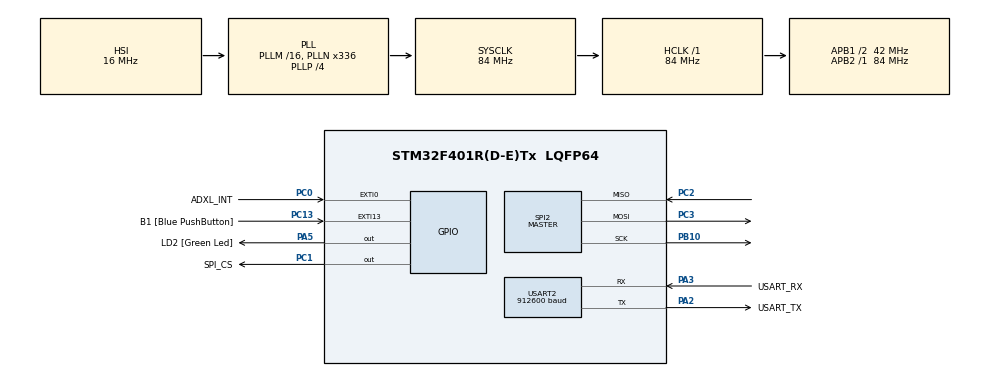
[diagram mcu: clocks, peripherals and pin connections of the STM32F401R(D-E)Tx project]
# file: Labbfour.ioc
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Mcu.Family=STM32F4
Mcu.Name=STM32F401R(D-E)Tx
Mcu.Package=LQFP64
NVIC.EXTI0_IRQn=true\:0\:0\:false\:false\:true\:true
NVIC.PriorityGroup=NVIC_PRIORITYGROUP_0
NVIC.SPI2_IRQn=true\:0\:0\:false\:false\:true\:true
NVIC.TIM1_UP_TIM10_IRQn=true\:0\:0\:false\:false\:true\:true
NVIC.USART2_IRQn=true\:0\:0\:false\:false\:true\:true
PA13.GPIO_Label=TMS
PA13.Mode=Serial_Wire
PA13.Signal=SYS_JTMS-SWDIO
PA14.GPIO_Label=TCK
PA14.Mode=Serial_Wire
PA14.Signal=SYS_JTCK-SWCLK
PA2.GPIO_Label=USART_TX
PA2.GPIO_Mode=GPIO_MODE_AF_PP
PA2.GPIO_PuPd=GPIO_NOPULL
PA2.GPIO_Speed=GPIO_SPEED_FREQ_LOW
PA2.Mode=Asynchronous
PA2.Signal=USART2_TX
PA3.GPIO_Label=USART_RX
PA3.GPIO_Mode=GPIO_MODE_AF_PP
PA3.GPIO_PuPd=GPIO_NOPULL
PA3.GPIO_Speed=GPIO_SPEED_FREQ_LOW
PA3.Mode=Asynchronous
PA3.Signal=USART2_RX
PA5.GPIO_Label=LD2 [Green Led]
PA5.GPIO_Mode=GPIO_MODE_OUTPUT_PP
PA5.GPIO_PuPd=GPIO_NOPULL
PA5.GPIO_Speed=GPIO_SPEED_FREQ_LOW
PA5.Signal=GPIO_Output
PB10.Mode=Full_Duplex_Master
PB10.Signal=SPI2_SCK
PB3.GPIO_Label=SWO
PB3.Signal=SYS_JTDO-SWO
PC0.GPIO_Label=ADXL_INT
PC0.Signal=GPXTI0
PC1.GPIO_Label=SPI_CS
PC1.Signal=GPIO_Output
PC13-ANTI_TAMP.GPIO_Label=B1 [Blue PushButton]
PC13-ANTI_TAMP.GPIO_ModeDefaultEXTI=GPIO_MODE_IT_FALLING
PC13-ANTI_TAMP.GPIO_PuPd=GPIO_NOPULL
PC13-ANTI_TAMP.Signal=GPXTI13
PC14-OSC32_IN.Mode=LSE-External-Oscillator
PC14-OSC32_IN.Signal=RCC_OSC32_IN
PC15-OSC32_OUT.Mode=LSE-External-Oscillator
PC15-OSC32_OUT.Signal=RCC_OSC32_OUT
PC2.Mode=Full_Duplex_Master
PC2.Signal=SPI2_MISO
PC3.Mode=Full_Duplex_Master
PC3.Signal=SPI2_MOSI
PH0\ -\ OSC_IN.Mode=HSE-External-Clock-Source
PH0\ -\ OSC_IN.Signal=RCC_OSC_IN
PH1\ -\ OSC_OUT.Mode=HSE-External-Clock-Source
PH1\ -\ OSC_OUT.Signal=RCC_OSC_OUT
ProjectManager.HeapSize=0x200
ProjectManager.StackSize=0x400
ProjectManager.TargetToolchain=TrueSTUDIO
RCC.48MHZClocksFreq_Value=48000000
RCC.AHBFreq_Value=84000000
RCC.APB1CLKDivider=RCC_HCLK_DIV2
RCC.APB1Freq_Value=42000000
RCC.APB1TimFreq_Value=84000000
RCC.APB2Freq_Value=84000000
RCC.APB2TimFreq_Value=84000000
RCC.CortexFreq_Value=84000000
RCC.HCLKFreq_Value=84000000
RCC.HSE_VALUE=8000000
RCC.HSI_VALUE=16000000
RCC.PLLN=336
RCC.PLLP=RCC_PLLP_DIV4
RCC.PLLQ=7
RCC.SYSCLKFreq_VALUE=84000000
RCC.SYSCLKSource=RCC_SYSCLKSOURCE_PLLCLK
RCC.VCOOutputFreq_Value=336000000
SPI2.CLKPhase=SPI_PHASE_2EDGE
SPI2.CLKPolarity=SPI_POLARITY_HIGH
SPI2.Direction=SPI_DIRECTION_2LINES
SPI2.Mode=SPI_MODE_MASTER
SPI2.VirtualType=VM_MASTER
TIM10.Period=62499
TIM10.Prescaler=1344
USART2.BaudRate=912600
USART2.VirtualMode=VM_ASYNC
VP_TIM10_VS_ClockSourceINT.Mode=Enable_Timer
board=NUCLEO-F401RE

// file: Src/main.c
/**
  ******************************************************************************
  * @file           : main.c
  * @brief          : Main program body
  ******************************************************************************
  ** This notice applies to any and all portions of this file
  * that are not between comment pairs USER CODE BEGIN and
  * USER CODE END. Other portions of this file, whether
  * inserted by the user or by software development tools
  * are owned by their respective copyright owners.
  *
  * COPYRIGHT(c) 2018 STMicroelectronics
  *
  * Redistribution and use in source and binary forms, with or without modification,
  * are permitted provided that the following conditions are met:
  *   1. Redistributions of source code must retain the above copyright notice,
  *      this list of conditions and the following disclaimer.
  *   2. Redistributions in binary form must reproduce the above copyright notice,
  *      this list of conditions and the following disclaimer in the documentation
  *      and/or other materials provided with the distribution.
  *   3. Neither the name of STMicroelectronics nor the names of its contributors
  *      may be used to endorse or promote products derived from this software
  *      without specific prior written permission.
  *
  * THIS SOFTWARE IS PROVIDED BY THE COPYRIGHT HOLDERS AND CONTRIBUTORS "AS IS"
  * AND ANY EXPRESS OR IMPLIED WARRANTIES, INCLUDING, BUT NOT LIMITED TO, THE
  * IMPLIED WARRANTIES OF MERCHANTABILITY AND FITNESS FOR A PARTICULAR PURPOSE ARE
  * DISCLAIMED. IN NO EVENT SHALL THE COPYRIGHT HOLDER OR CONTRIBUTORS BE LIABLE
  * FOR ANY DIRECT, INDIRECT, INCIDENTAL, SPECIAL, EXEMPLARY, OR CONSEQUENTIAL
  * DAMAGES (INCLUDING, BUT NOT LIMITED TO, PROCUREMENT OF SUBSTITUTE GOODS OR
  * SERVICES; LOSS OF USE, DATA, OR PROFITS; OR BUSINESS INTERRUPTION) HOWEVER
  * CAUSED AND ON ANY THEORY OF LIABILITY, WHETHER IN CONTRACT, STRICT LIABILITY,
  * OR TORT (INCLUDING NEGLIGENCE OR OTHERWISE) ARISING IN ANY WAY OUT OF THE USE
  * OF THIS SOFTWARE, EVEN IF ADVISED OF THE POSSIBILITY OF SUCH DAMAGE.
  *
  * ======================
  * PERIPHERALS:
  * SPI2
  * TIM10 - Prescalar = 1344, Counter period = 62499, Interrupt on
  *
  * PIN LAYOUT:
  *
  * PC0 - ADXL_Interrupt_2 (Set as EXT interrupt)
  * PC1 - SPI_CS
  * PC2 - SPI2_MISO
  * PC3 - SPI2_MOSI
  * PA2 - USART_TX
  * PA3 - USART_RX
  * PA5 - LD2 (Green LED)
  * PB10 - SPI2_SCK
  *
  ******************************************************************************
  */
#include "main.h"
#include "stm32f4xx_hal.h"

/* USER CODE BEGIN Includes */
#include "ADXL.h"
#include "StateMachine.h"
/* USER CODE END Includes */

SPI_HandleTypeDef hspi2;

TIM_HandleTypeDef htim10;

UART_HandleTypeDef huart2;

/* USER CODE BEGIN PV */
/* Private variables ---------------------------------------------------------*/
uint8_t ADXLdata[6];
int16_t x, y, z;
statesE state;
statesE event;
uint8_t FIFOTrigger = 0;
int restFlag = 0;
int sTick = 0;
int SPIready = 1;
int UARTready = 1;
/* USER CODE END PV */

void SystemClock_Config(void);
static void MX_GPIO_Init(void);
static void MX_USART2_UART_Init(void);
static void MX_SPI2_Init(void);
static void MX_TIM10_Init(void);

/* USER CODE BEGIN PFP */
/* Private function prototypes -----------------------------------------------*/
void HAL_GPIO_EXTI_Callback(uint16_t GPIO_Pin);
void HAL_TIM_PeriodElapsedCallback(TIM_HandleTypeDef *htim);
void HAL_SPI_TxCpltCallback(SPI_HandleTypeDef*hspi);
void HAL_UART_TxCpltCallback(UART_HandleTypeDef*huart);

/* USER CODE END PFP */

/* USER CODE BEGIN 0 */
void UART_Send_Int(UART_HandleTypeDef *huart, int16_t intIn)
{

	char intOut[5];
	HAL_UART_Transmit(huart, (uint8_t*)intOut, sprintf(intOut, "%d,", intIn), 100);

}

void UART_Send_break(UART_HandleTypeDef *huart)
{
	unsigned char UARTbreak[4] = "\r\n";
	HAL_UART_Transmit(huart, UARTbreak, 2, 100);
}

/* USER CODE END 0 */

int main(void)
{

  /* MCU Configuration----------------------------------------------------------*/

  /* Reset of all peripherals, Initializes the Flash interface and the Systick. */
  HAL_Init();

  /* Configure the system clock */
  SystemClock_Config();

  /* Initialize all configured peripherals */
  MX_GPIO_Init();
  MX_USART2_UART_Init();
  MX_SPI2_Init();
  MX_TIM10_Init();
  /* USER CODE BEGIN 2 */
  HAL_GPIO_WritePin(GPIOA, GPIO_PIN_5, 0);

  HAL_Delay(1000);
  uint8_t test = ADXL_Init(&hspi2);
  if(test == 0xE5)
	  HAL_UART_Transmit(&huart2, "OK", 2, 500);
  else
	  HAL_UART_Transmit(&huart2, "ERR", 3, 500);

  ADXL_resetInt(&hspi2);
  HAL_Delay(200);
  state = IDLE;
  event = STANDBY;
  buffInit();
  /* USER CODE END 2 */

  /* Infinite loop */
  /* USER CODE BEGIN WHILE */
  while (1)
  {

	  switch(state)
	  {
	  case IDLE:
		  ADXL_resetInt(&hspi2);
		  break;

	  case ACTIVITY:									// V FIFO entry bit corresponding to 32 samples in FIFO
		  FIFOTrigger = ADXL_ReadRegister(&hspi2, 0x39) & 0b00010000;
		  if(FIFOTrigger && SPIready)
		  {
			  SPIready = 0;
			  ADXL_ReadRegisters_IT(&hspi2, 0x32, ADXLdata, 6);
			  x = ADXLdata[0] | (ADXLdata[1] << 8);
			  y = ADXLdata[2] | (ADXLdata[3] << 8);
			  z = ADXLdata[4] | (ADXLdata[5] << 8);

			  UART_Send_Int(&huart2, x);
			  UART_Send_Int(&huart2, y);
			  UART_Send_Int(&huart2, z);
			  UART_Send_break(&huart2);
		  }

		  break;

	  case REST:

		  break;

	  default:
		  state = IDLE;
		  HAL_GPIO_WritePin(GPIOA, GPIO_PIN_5, 1);
		  break;

	  }

	  switch(event)
	  {
	  case STANDBY:
		  event = readBuff();
		  break;

	  case ACTIVATE:
		  ADXL_wakeUp(&hspi2);
		  state = ACTIVITY;
		  event = STANDBY;
		  HAL_TIM_Base_Start_IT(&htim10);
		  HAL_GPIO_WritePin(GPIOA, GPIO_PIN_5, 1);
		  break;

	  case TIMER:
		  sTick++;
		  if(sTick > 2 && !restFlag)
		  {
			  event = RESETT;
		  }
		  else if(sTick >= 5 && restFlag)
		  {
			  HAL_TIM_Base_Stop_IT(&htim10);
			  sTick = 0;
			  restFlag = 0;
			  state = IDLE;
			  ADXL_resetInt(&hspi2);
		  }
		  else
			  event = STANDBY;

		  break;

	  case RESETT:
		  ADXL_Sleep(&hspi2);
		  event = STANDBY;
		  state = REST;
		  TIM10->CNT = 0;
		  restFlag = 1;
		  HAL_GPIO_WritePin(GPIOA, GPIO_PIN_5, 0);
		  break;

	  default:
		  //HAL_GPIO_WritePin(GPIOA, GPIO_PIN_5, 1);
		  event = STANDBY;
		  break;
	  }
  /* USER CODE END WHILE */

  }

}

void SystemClock_Config(void)
{

  RCC_OscInitTypeDef RCC_OscInitStruct;
  RCC_ClkInitTypeDef RCC_ClkInitStruct;

    /**Configure the main internal regulator output voltage
    */
  __HAL_RCC_PWR_CLK_ENABLE();

  __HAL_PWR_VOLTAGESCALING_CONFIG(PWR_REGULATOR_VOLTAGE_SCALE2);

    /**Initializes the CPU, AHB and APB busses clocks
    */
  RCC_OscInitStruct.OscillatorType = RCC_OSCILLATORTYPE_HSI;
  RCC_OscInitStruct.HSIState = RCC_HSI_ON;
  RCC_OscInitStruct.HSICalibrationValue = 16;
  RCC_OscInitStruct.PLL.PLLState = RCC_PLL_ON;
  RCC_OscInitStruct.PLL.PLLSource = RCC_PLLSOURCE_HSI;
  RCC_OscInitStruct.PLL.PLLM = 16;
  RCC_OscInitStruct.PLL.PLLN = 336;
  RCC_OscInitStruct.PLL.PLLP = RCC_PLLP_DIV4;
  RCC_OscInitStruct.PLL.PLLQ = 7;
  if (HAL_RCC_OscConfig(&RCC_OscInitStruct) != HAL_OK)
  {
    _Error_Handler(__FILE__, __LINE__);
  }

    /**Initializes the CPU, AHB and APB busses clocks
    */
  RCC_ClkInitStruct.ClockType = RCC_CLOCKTYPE_HCLK|RCC_CLOCKTYPE_SYSCLK
                              |RCC_CLOCKTYPE_PCLK1|RCC_CLOCKTYPE_PCLK2;
  RCC_ClkInitStruct.SYSCLKSource = RCC_SYSCLKSOURCE_PLLCLK;
  RCC_ClkInitStruct.AHBCLKDivider = RCC_SYSCLK_DIV1;
  RCC_ClkInitStruct.APB1CLKDivider = RCC_HCLK_DIV2;
  RCC_ClkInitStruct.APB2CLKDivider = RCC_HCLK_DIV1;

  if (HAL_RCC_ClockConfig(&RCC_ClkInitStruct, FLASH_LATENCY_2) != HAL_OK)
  {
    _Error_Handler(__FILE__, __LINE__);
  }

    /**Configure the Systick interrupt time
    */
  HAL_SYSTICK_Config(HAL_RCC_GetHCLKFreq()/1000);

    /**Configure the Systick
    */
  HAL_SYSTICK_CLKSourceConfig(SYSTICK_CLKSOURCE_HCLK);

  /* SysTick_IRQn interrupt configuration */
  HAL_NVIC_SetPriority(SysTick_IRQn, 0, 0);
}

/* SPI2 init function */
static void MX_SPI2_Init(void)
{

  /* SPI2 parameter configuration*/
  hspi2.Instance = SPI2;
  hspi2.Init.Mode = SPI_MODE_MASTER;
  hspi2.Init.Direction = SPI_DIRECTION_2LINES;
  hspi2.Init.DataSize = SPI_DATASIZE_8BIT;
  hspi2.Init.CLKPolarity = SPI_POLARITY_HIGH;
  hspi2.Init.CLKPhase = SPI_PHASE_2EDGE;
  hspi2.Init.NSS = SPI_NSS_SOFT;
  hspi2.Init.BaudRatePrescaler = SPI_BAUDRATEPRESCALER_2;
  hspi2.Init.FirstBit = SPI_FIRSTBIT_MSB;
  hspi2.Init.TIMode = SPI_TIMODE_DISABLE;
  hspi2.Init.CRCCalculation = SPI_CRCCALCULATION_DISABLE;
  hspi2.Init.CRCPolynomial = 10;
  if (HAL_SPI_Init(&hspi2) != HAL_OK)
  {
    _Error_Handler(__FILE__, __LINE__);
  }

}

/* TIM10 init function */
static void MX_TIM10_Init(void)
{

  htim10.Instance = TIM10;
  htim10.Init.Prescaler = 1344;
  htim10.Init.CounterMode = TIM_COUNTERMODE_UP;
  htim10.Init.Period = 62499;
  htim10.Init.ClockDivision = TIM_CLOCKDIVISION_DIV1;
  if (HAL_TIM_Base_Init(&htim10) != HAL_OK)
  {
    _Error_Handler(__FILE__, __LINE__);
  }

}

/* USART2 init function */
static void MX_USART2_UART_Init(void)
{

  huart2.Instance = USART2;
  huart2.Init.BaudRate = 912600;
  huart2.Init.WordLength = UART_WORDLENGTH_8B;
  huart2.Init.StopBits = UART_STOPBITS_1;
  huart2.Init.Parity = UART_PARITY_NONE;
  huart2.Init.Mode = UART_MODE_TX_RX;
  huart2.Init.HwFlowCtl = UART_HWCONTROL_NONE;
  huart2.Init.OverSampling = UART_OVERSAMPLING_16;
  if (HAL_UART_Init(&huart2) != HAL_OK)
  {
    _Error_Handler(__FILE__, __LINE__);
  }

}

/** Configure pins as
        * Analog
        * Input
        * Output
        * EVENT_OUT
        * EXTI
*/
static void MX_GPIO_Init(void)
{

  GPIO_InitTypeDef GPIO_InitStruct;

  /* GPIO Ports Clock Enable */
  __HAL_RCC_GPIOC_CLK_ENABLE();
  __HAL_RCC_GPIOH_CLK_ENABLE();
  __HAL_RCC_GPIOA_CLK_ENABLE();
  __HAL_RCC_GPIOB_CLK_ENABLE();

  /*Configure GPIO pin Output Level */
  HAL_GPIO_WritePin(SPI_CS_GPIO_Port, SPI_CS_Pin, GPIO_PIN_RESET);

  /*Configure GPIO pin Output Level */
  HAL_GPIO_WritePin(LD2_GPIO_Port, LD2_Pin, GPIO_PIN_RESET);

  /*Configure GPIO pin : B1_Pin */
  GPIO_InitStruct.Pin = B1_Pin;
  GPIO_InitStruct.Mode = GPIO_MODE_IT_FALLING;
  GPIO_InitStruct.Pull = GPIO_NOPULL;
  HAL_GPIO_Init(B1_GPIO_Port, &GPIO_InitStruct);

  /*Configure GPIO pin : ADXL_INT_Pin */
  GPIO_InitStruct.Pin = ADXL_INT_Pin;
  GPIO_InitStruct.Mode = GPIO_MODE_IT_RISING;
  GPIO_InitStruct.Pull = GPIO_NOPULL;
  HAL_GPIO_Init(ADXL_INT_GPIO_Port, &GPIO_InitStruct);

  /*Configure GPIO pin : SPI_CS_Pin */
  GPIO_InitStruct.Pin = SPI_CS_Pin;
  GPIO_InitStruct.Mode = GPIO_MODE_OUTPUT_PP;
  GPIO_InitStruct.Pull = GPIO_NOPULL;
  GPIO_InitStruct.Speed = GPIO_SPEED_FREQ_LOW;
  HAL_GPIO_Init(SPI_CS_GPIO_Port, &GPIO_InitStruct);

  /*Configure GPIO pin : LD2_Pin */
  GPIO_InitStruct.Pin = LD2_Pin;
  GPIO_InitStruct.Mode = GPIO_MODE_OUTPUT_PP;
  GPIO_InitStruct.Pull = GPIO_NOPULL;
  GPIO_InitStruct.Speed = GPIO_SPEED_FREQ_LOW;
  HAL_GPIO_Init(LD2_GPIO_Port, &GPIO_InitStruct);

  /* EXTI interrupt init*/
  HAL_NVIC_SetPriority(EXTI0_IRQn, 0, 0);
  HAL_NVIC_EnableIRQ(EXTI0_IRQn);

}

/* USER CODE BEGIN 4 */
void HAL_GPIO_EXTI_Callback(uint16_t GPIO_Pin)
{
	if(GPIO_Pin == GPIO_PIN_0)
	{
		writeBuff(ACTIVATE);
	}
}

void HAL_TIM_PeriodElapsedCallback(TIM_HandleTypeDef *htim)
{
	if(htim == &htim10)
	{
		writeBuff(TIMER);
	}
}

void HAL_SPI_TxCpltCallback(SPI_HandleTypeDef*hspi)
{
	SPIready = 1;
}

void HAL_UART_TxCpltCallback(UART_HandleTypeDef*huart)
{
	UARTready = 1;
}

/* USER CODE END 4 */

void _Error_Handler(char *file, int line)
{
  while(1)
  {
  }
}

/************************ (C) COPYRIGHT STMicroelectronics *****END OF FILE****/
